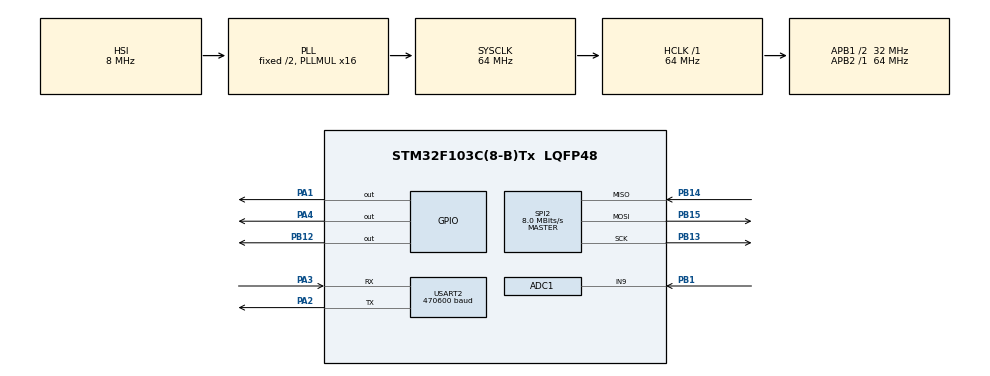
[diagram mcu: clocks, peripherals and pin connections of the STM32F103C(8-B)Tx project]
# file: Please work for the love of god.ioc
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ADC1.Channel-1\#ChannelRegularConversion=ADC_CHANNEL_9
ADC1.NbrOfConversionFlag=1
ADC1.Rank-1\#ChannelRegularConversion=1
ADC1.SamplingTime-1\#ChannelRegularConversion=ADC_SAMPLETIME_71CYCLES_5
ADC1.master=1
Dma.ADC1.0.Direction=DMA_PERIPH_TO_MEMORY
Dma.ADC1.0.Instance=DMA1_Channel1
Dma.ADC1.0.MemDataAlignment=DMA_MDATAALIGN_HALFWORD
Dma.ADC1.0.MemInc=DMA_MINC_ENABLE
Dma.ADC1.0.Mode=DMA_NORMAL
Dma.ADC1.0.PeriphDataAlignment=DMA_PDATAALIGN_HALFWORD
Dma.ADC1.0.PeriphInc=DMA_PINC_DISABLE
Dma.ADC1.0.Priority=DMA_PRIORITY_LOW
Dma.Request0=ADC1
Dma.Request1=SPI2_RX
Dma.Request2=SPI2_TX
Dma.SPI2_RX.1.Direction=DMA_PERIPH_TO_MEMORY
Dma.SPI2_RX.1.Instance=DMA1_Channel4
Dma.SPI2_RX.1.MemDataAlignment=DMA_MDATAALIGN_BYTE
Dma.SPI2_RX.1.MemInc=DMA_MINC_ENABLE
Dma.SPI2_RX.1.Mode=DMA_NORMAL
Dma.SPI2_RX.1.PeriphDataAlignment=DMA_PDATAALIGN_BYTE
Dma.SPI2_RX.1.PeriphInc=DMA_PINC_DISABLE
Dma.SPI2_RX.1.Priority=DMA_PRIORITY_LOW
Dma.SPI2_TX.2.Direction=DMA_MEMORY_TO_PERIPH
Dma.SPI2_TX.2.Instance=DMA1_Channel5
Dma.SPI2_TX.2.MemDataAlignment=DMA_MDATAALIGN_BYTE
Dma.SPI2_TX.2.MemInc=DMA_MINC_ENABLE
Dma.SPI2_TX.2.Mode=DMA_NORMAL
Dma.SPI2_TX.2.PeriphDataAlignment=DMA_PDATAALIGN_BYTE
Dma.SPI2_TX.2.PeriphInc=DMA_PINC_DISABLE
Dma.SPI2_TX.2.Priority=DMA_PRIORITY_LOW
Mcu.Family=STM32F1
Mcu.Name=STM32F103C(8-B)Tx
Mcu.Package=LQFP48
NVIC.DMA1_Channel1_IRQn=true\:0\:0\:false\:false\:true\:false\:true\:true
NVIC.DMA1_Channel4_IRQn=true\:0\:0\:false\:false\:true\:false\:true\:true
NVIC.DMA1_Channel5_IRQn=true\:0\:0\:false\:false\:true\:false\:true\:true
NVIC.PriorityGroup=NVIC_PRIORITYGROUP_4
NVIC.USART2_IRQn=true\:0\:0\:false\:false\:true\:true\:true\:true
PA1.PinState=GPIO_PIN_SET
PA1.Signal=GPIO_Output
PA13.Mode=Serial_Wire
PA13.Signal=SYS_JTMS-SWDIO
PA14.Mode=Serial_Wire
PA14.Signal=SYS_JTCK-SWCLK
PA2.Mode=Asynchronous
PA2.Signal=USART2_TX
PA3.Mode=Asynchronous
PA3.Signal=USART2_RX
PA4.Signal=GPIO_Output
PB1.Signal=ADCx_IN9
PB12.PinState=GPIO_PIN_SET
PB12.Signal=GPIO_Output
PB13.Mode=Full_Duplex_Master
PB13.Signal=SPI2_SCK
PB14.Mode=Full_Duplex_Master
PB14.Signal=SPI2_MISO
PB15.Mode=Full_Duplex_Master
PB15.Signal=SPI2_MOSI
ProjectManager.HeapSize=0x200
ProjectManager.StackSize=0x400
ProjectManager.TargetToolchain=STM32CubeIDE
RCC.ADCPresc=RCC_ADCPCLK2_DIV8
RCC.AHBFreq_Value=64000000
RCC.APB1CLKDivider=RCC_HCLK_DIV2
RCC.APB1Freq_Value=32000000
RCC.APB1TimFreq_Value=64000000
RCC.APB2Freq_Value=64000000
RCC.APB2TimFreq_Value=64000000
RCC.HCLKFreq_Value=64000000
RCC.PLLMUL=RCC_PLL_MUL16
RCC.SYSCLKFreq_VALUE=64000000
RCC.SYSCLKSource=RCC_SYSCLKSOURCE_PLLCLK
RCC.USBFreq_Value=64000000
SH.ADCx_IN9.0=ADC1_IN9,IN9
SPI2.BaudRatePrescaler=SPI_BAUDRATEPRESCALER_4
SPI2.CalculateBaudRate=8.0 MBits/s
SPI2.Direction=SPI_DIRECTION_2LINES
SPI2.Mode=SPI_MODE_MASTER
SPI2.VirtualType=VM_MASTER
USART2.BaudRate=470600
USART2.Mode=MODE_TX
USART2.VirtualMode=VM_ASYNC
board=custom

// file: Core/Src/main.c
/* USER CODE BEGIN Header */
/**
 ******************************************************************************
 * @file           : main.c
 * @brief          : Main program body
 ******************************************************************************
 */
/* USER CODE END Header */
#include "main.h"

#include "adc.h"
#include "dma.h"
#include "gpio.h"
#include "spi.h"
#include "usart.h"

/* USER CODE BEGIN Includes */
#include "mlx90382.h"
#include "thermistor.h"
#include "ws22.h"
#include <stdbool.h>
#include <stdint.h>
/* USER CODE END Includes */

/* USER CODE BEGIN PTD */
typedef enum {
  APP_STATUS_OK = 0,
  APP_STATUS_SPI_ERROR,
  APP_STATUS_UART_ERROR,
  APP_STATUS_ADC_ERROR
} AppStatus;
/* USER CODE END PTD */

/* USER CODE BEGIN PD */

#define MOTOR_SENSOR_UART_DE_Pin GPIO_PIN_1
#define MOTOR_SENSOR_UART_DE_GPIO_Port GPIOA
#define MOTOR_SENSOR_UART_NRE_Pin GPIO_PIN_4
#define MOTOR_SENSOR_UART_NRE_GPIO_Port GPIOA

#define SPI_TIMEOUT_MS 10U
#define UART_TIMEOUT_MS 10U

/* USER CODE END PD */

/* USER CODE BEGIN PV */
static volatile uint32_t s_uart_error_count = 0U;
static volatile uint32_t s_adc_error_count = 0U;
static volatile AppStatus s_app_status = APP_STATUS_OK;
/* USER CODE END PV */

void SystemClock_Config(void);

/* USER CODE BEGIN 0 */

void HAL_UART_TxCpltCallback(UART_HandleTypeDef *huart) {
  if (huart->Instance == USART2) {
    HAL_StatusTypeDef hal_status;

    hal_status = ws22_handle_uart_tx_complete(huart);
    if (hal_status != HAL_OK) {
      s_uart_error_count++;
      s_app_status = APP_STATUS_UART_ERROR;
    }
  }
}

void HAL_UART_ErrorCallback(UART_HandleTypeDef *huart) {
  if (huart->Instance == USART2) {
    ws22_handle_uart_error(huart);
    s_uart_error_count++;
    s_app_status = APP_STATUS_UART_ERROR;
  }
}

void HAL_SPI_TxRxCpltCallback(SPI_HandleTypeDef *hspi) {
  if (hspi->Instance == SPI2) {
    mlx90382_handle_spi_txrx_complete(hspi);
    s_app_status = APP_STATUS_OK;
  }
}

void HAL_SPI_ErrorCallback(SPI_HandleTypeDef *hspi) {
  if (hspi->Instance == SPI2) {
    mlx90382_handle_spi_error(hspi);
    s_app_status = APP_STATUS_SPI_ERROR;
  }
}
/* USER CODE END 0 */

int main(void) {

  /* MCU Configuration--------------------------------------------------------*/

  /* Reset of all peripherals, Initializes the Flash interface and the Systick.
   */
  HAL_Init();

  /* Configure the system clock */
  SystemClock_Config();

  /* Initialize all configured peripherals */
  MX_GPIO_Init();
  MX_DMA_Init();
  MX_USART2_UART_Init();
  MX_SPI2_Init();
  MX_ADC1_Init();
  /* USER CODE BEGIN 2 */
  if (thermistor_init() != HAL_OK) {
    Error_Handler();
  }

  if (ws22_init() != HAL_OK) {
    Error_Handler();
  }

  if (mlx90382_init() != HAL_OK) {
    Error_Handler();
  }

  if (mlx90382_start_frame_dma() != HAL_OK) {
    Error_Handler();
  }
  /* USER CODE END 2 */

  /* Infinite loop */
  /* USER CODE BEGIN WHILE */
  uint16_t thermistor_raw = 0U;
  while (1) {
    /* USER CODE END WHILE */

    /* USER CODE BEGIN 3 */
    uint16_t angle_raw;

    if (mlx90382_take_reading(&angle_raw)) {
      if (!thermistor_read(&thermistor_raw)) {
        s_adc_error_count++;
        s_app_status = APP_STATUS_ADC_ERROR;
      }

      if (ws22_send_measurement(thermistor_raw, angle_raw) != HAL_OK) {
        s_uart_error_count++;
        s_app_status = APP_STATUS_UART_ERROR;
      }

      if (mlx90382_start_frame_dma() != HAL_OK) {
        s_app_status = APP_STATUS_SPI_ERROR;
        HAL_Delay(1U);
      }
    } else if (!mlx90382_is_busy()) {
      if (mlx90382_start_frame_dma() != HAL_OK) {
        s_app_status = APP_STATUS_SPI_ERROR;
        HAL_Delay(1U);
      }
    }
  }
  /* USER CODE END 3 */
}

void SystemClock_Config(void) {
  RCC_OscInitTypeDef RCC_OscInitStruct = {0};
  RCC_ClkInitTypeDef RCC_ClkInitStruct = {0};
  RCC_PeriphCLKInitTypeDef PeriphClkInit = {0};

  /** Initializes the RCC Oscillators according to the specified parameters
   * in the RCC_OscInitTypeDef structure.
   */
  RCC_OscInitStruct.OscillatorType = RCC_OSCILLATORTYPE_HSI;
  RCC_OscInitStruct.HSIState = RCC_HSI_ON;
  RCC_OscInitStruct.HSICalibrationValue = RCC_HSICALIBRATION_DEFAULT;
  RCC_OscInitStruct.PLL.PLLState = RCC_PLL_ON;
  RCC_OscInitStruct.PLL.PLLSource = RCC_PLLSOURCE_HSI_DIV2;
  RCC_OscInitStruct.PLL.PLLMUL = RCC_PLL_MUL16;
  if (HAL_RCC_OscConfig(&RCC_OscInitStruct) != HAL_OK) {
    Error_Handler();
  }

  /** Initializes the CPU, AHB and APB buses clocks
   */
  RCC_ClkInitStruct.ClockType = RCC_CLOCKTYPE_HCLK | RCC_CLOCKTYPE_SYSCLK |
                                RCC_CLOCKTYPE_PCLK1 | RCC_CLOCKTYPE_PCLK2;
  RCC_ClkInitStruct.SYSCLKSource = RCC_SYSCLKSOURCE_PLLCLK;
  RCC_ClkInitStruct.AHBCLKDivider = RCC_SYSCLK_DIV1;
  RCC_ClkInitStruct.APB1CLKDivider = RCC_HCLK_DIV2;
  RCC_ClkInitStruct.APB2CLKDivider = RCC_HCLK_DIV1;

  if (HAL_RCC_ClockConfig(&RCC_ClkInitStruct, FLASH_LATENCY_2) != HAL_OK) {
    Error_Handler();
  }
  PeriphClkInit.PeriphClockSelection = RCC_PERIPHCLK_ADC;
  PeriphClkInit.AdcClockSelection = RCC_ADCPCLK2_DIV8;
  if (HAL_RCCEx_PeriphCLKConfig(&PeriphClkInit) != HAL_OK) {
    Error_Handler();
  }
}

void Error_Handler(void) {
  __disable_irq();
  while (1) {
  }
}

#ifdef USE_FULL_ASSERT
/**
 * @brief  Reports the name of the source file and the source line number
 *         where the assert_param error has occurred.
 * @param  file: pointer to the source file name
 * @param  line: assert_param error line source number
 * @retval None
 */
void assert_failed(uint8_t *file, uint32_t line) {
  /* USER CODE BEGIN 6 */
  /* User can add his own implementation to report the file name and line
     number, ex: printf("Wrong parameters value: file %s on line %d\r\n", file,
     line) */
  /* USER CODE END 6 */
}
#endif /* USE_FULL_ASSERT */
